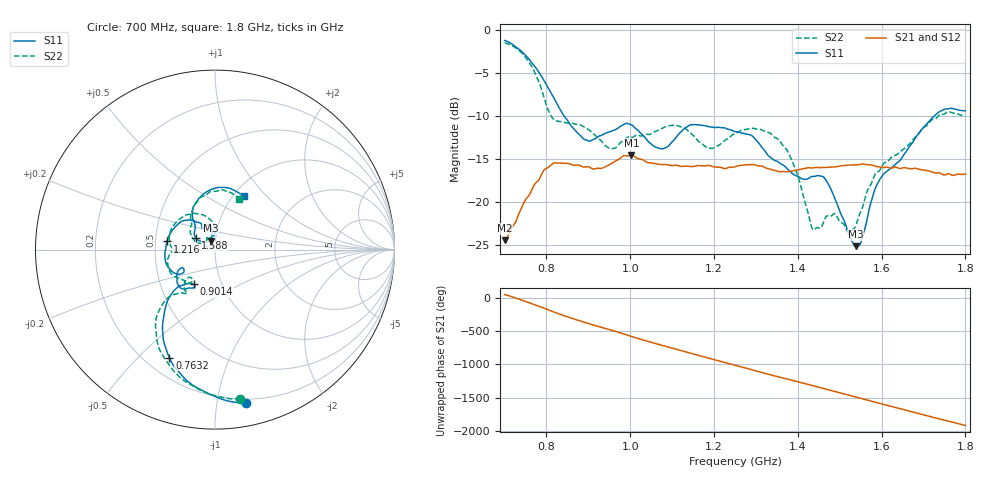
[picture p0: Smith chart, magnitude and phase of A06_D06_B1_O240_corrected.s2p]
! Created with skrf 1.9.0 (http://scikit-rf.org).
# Hz S RI R 50.0
!freq ReS11 ImS11 ReS21 ImS21 ReS12 ImS12 ReS22 ImS22
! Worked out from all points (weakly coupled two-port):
!   1601 points, 700 MHz to 1.8 GHz, reference 50 ohm
!   highest |S21| = -14.51 dB at 1.002 GHz (marker M1); lowest = -24.4 dB at 700.7 MHz (marker M2)
!   lowest |S11| = -25.1 dB at 1.538 GHz (marker M3), VSWR 1.12, Z = 47.3 + j4.73 ohm
!   |S11| at or under -10 dB: 842.4 MHz to 1.725 GHz (882.6 MHz wide, 68.8 % of centre)
!   |S22| runs from -23.5 to -1.5 dB; largest |S21 - S12| = 0.0035
!   S11 on the Smith chart (normalised r, x): 700 MHz: 0.17, -1.21; 763.2 MHz: 0.30, -0.62; 901.4 MHz: 0.74, -0.30; 1.216 GHz: 0.58, +0.06; 1.588 GHz: 0.80, +0.10; 1.8 GHz: 1.12, +0.75
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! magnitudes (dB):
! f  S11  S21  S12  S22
! 700 MHz  -1.2  -24.4  -24.2  -1.5
! 700.7 MHz  -1.2  -24.4  -24.1  -1.5
! 763.2 MHz  -3.7  -18.7  -18.7  -4.1
! 814.8 MHz  -7.6  -15.5  -15.6  -10.2
! 883.6 MHz  -12.4  -15.8  -15.7  -11.1
! 901.4 MHz  -12.9  -15.9  -15.9  -11.6
! 953 MHz  -11.8  -15.5  -15.5  -13.7
! 1.002 GHz  -11.0  -14.5  -14.6  -12.4
! 1.067 GHz  -13.7  -15.6  -15.5  -11.6
! 1.143 GHz  -11.0  -15.8  -15.8  -11.9
! 1.216 GHz  -11.3  -15.9  -15.9  -13.2
! 1.25 GHz  -11.8  -15.9  -15.8  -12.0
! 1.357 GHz  -15.5  -16.4  -16.4  -12.9
! 1.395 GHz  -16.9  -16.3  -16.3  -16.2
! 1.434 GHz  -17.0  -16.0  -16.0  -23.0
! 1.468 GHz  -17.5  -16.0  -15.9  -21.6
! 1.538 GHz  -25.1  -15.6  -15.6  -22.7
! 1.552 GHz  -24.4  -15.6  -15.6  -20.9
! 1.588 GHz  -18.1  -15.8  -15.8  -16.5
! 1.617 GHz  -16.2  -16.0  -15.9  -15.1
! 1.733 GHz  -9.6  -16.6  -16.6  -10.1
! 1.8 GHz  -9.4  -16.7  -16.7  -10.0
